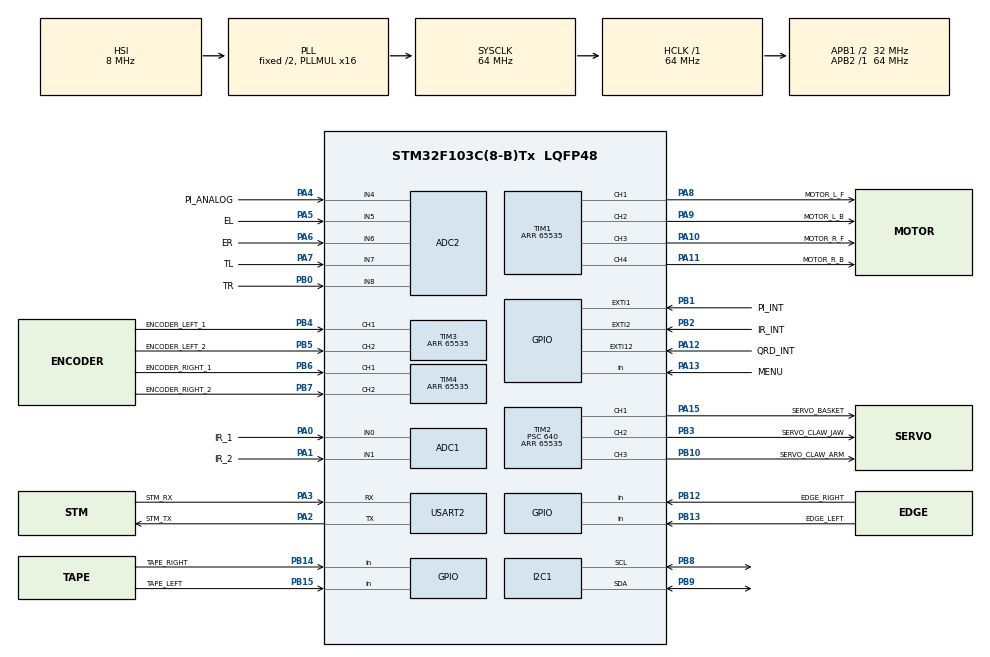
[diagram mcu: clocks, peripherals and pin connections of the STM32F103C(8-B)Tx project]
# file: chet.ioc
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ADC1.Channel-0\#ChannelRegularConversion=ADC_CHANNEL_0
ADC1.Channel-1\#ChannelRegularConversion=ADC_CHANNEL_1
ADC1.ContinuousConvMode=ENABLE
ADC1.DataAlign=ADC_DATAALIGN_RIGHT
ADC1.DiscontinuousConvMode=DISABLE
ADC1.EnableAnalogWatchDog=false
ADC1.EnableRegularConversion=ENABLE
ADC1.ExternalTrigConv=ADC_SOFTWARE_START
ADC1.InjNumberOfConversion=0
ADC1.NbrOfConversion=2
ADC1.NbrOfConversionFlag=1
ADC1.Rank-0\#ChannelRegularConversion=1
ADC1.Rank-1\#ChannelRegularConversion=2
ADC1.SamplingTime-0\#ChannelRegularConversion=ADC_SAMPLETIME_239CYCLES_5
ADC1.SamplingTime-1\#ChannelRegularConversion=ADC_SAMPLETIME_239CYCLES_5
ADC1.ScanConvMode=ADC_SCAN_ENABLE
ADC1.master=1
ADC2.Channel-11\#ChannelRegularConversion=ADC_CHANNEL_4
ADC2.ContinuousConvMode=DISABLE
ADC2.DataAlign=ADC_DATAALIGN_RIGHT
ADC2.DiscontinuousConvMode=DISABLE
ADC2.EnableAnalogWatchDog=false
ADC2.EnableRegularConversion=ENABLE
ADC2.ExternalTrigConv=ADC_SOFTWARE_START
ADC2.InjNumberOfConversion=0
ADC2.NbrOfConversion=1
ADC2.NbrOfConversionFlag=1
ADC2.Rank-11\#ChannelRegularConversion=1
ADC2.SamplingTime-11\#ChannelRegularConversion=ADC_SAMPLETIME_1CYCLE_5
ADC2.ScanConvMode=ADC_SCAN_DISABLE
Dma.ADC1.0.Direction=DMA_PERIPH_TO_MEMORY
Dma.ADC1.0.Instance=DMA1_Channel1
Dma.ADC1.0.MemDataAlignment=DMA_MDATAALIGN_WORD
Dma.ADC1.0.MemInc=DMA_MINC_ENABLE
Dma.ADC1.0.Mode=DMA_CIRCULAR
Dma.ADC1.0.PeriphDataAlignment=DMA_PDATAALIGN_WORD
Dma.ADC1.0.PeriphInc=DMA_PINC_DISABLE
Dma.ADC1.0.Priority=DMA_PRIORITY_VERY_HIGH
Dma.Request0=ADC1
Mcu.Family=STM32F1
Mcu.Name=STM32F103C(8-B)Tx
Mcu.Package=LQFP48
NVIC.ADC1_2_IRQn=true\:0\:0\:false\:false\:true\:true
NVIC.DMA1_Channel1_IRQn=true\:0\:0\:false\:false\:true\:false
NVIC.EXTI15_10_IRQn=true\:0\:0\:false\:false\:true\:true
NVIC.EXTI1_IRQn=true\:0\:0\:false\:false\:true\:true
NVIC.EXTI2_IRQn=true\:0\:0\:false\:false\:true\:true
NVIC.PriorityGroup=NVIC_PRIORITYGROUP_4
PA0-WKUP.GPIO_Label=IR_1
PA0-WKUP.Signal=ADCx_IN0
PA1.GPIO_Label=IR_2
PA1.Signal=ADCx_IN1
PA10.GPIO_Label=MOTOR_R_F
PA10.GPIO_Speed=GPIO_SPEED_FREQ_HIGH
PA10.Signal=S_TIM1_CH3
PA11.GPIO_Label=MOTOR_R_B
PA11.GPIO_Speed=GPIO_SPEED_FREQ_HIGH
PA11.Signal=S_TIM1_CH4
PA12.GPIO_Label=QRD_INT
PA12.Signal=GPXTI12
PA13.GPIO_Label=MENU
PA13.GPIO_PuPd=GPIO_PULLUP
PA13.Signal=GPIO_Input
PA15.GPIO_Label=SERVO_BASKET
PA15.GPIO_ModeDefaultPP=GPIO_MODE_AF_OD
PA15.GPIO_Speed=GPIO_SPEED_FREQ_HIGH
PA15.Signal=S_TIM2_CH1_ETR
PA2.GPIO_Label=STM_TX
PA2.Mode=Asynchronous
PA2.Signal=USART2_TX
PA3.GPIO_Label=STM_RX
PA3.Mode=Asynchronous
PA3.Signal=USART2_RX
PA4.GPIO_Label=PI_ANALOG
PA4.Signal=ADCx_IN4
PA5.GPIO_Label=EL
PA5.Signal=ADCx_IN5
PA6.GPIO_Label=ER
PA6.Signal=ADCx_IN6
PA7.GPIO_Label=TL
PA7.Signal=ADCx_IN7
PA8.GPIO_Label=MOTOR_L_F
PA8.GPIO_Speed=GPIO_SPEED_FREQ_HIGH
PA8.Signal=S_TIM1_CH1
PA9.GPIO_Label=MOTOR_L_B
PA9.GPIO_Speed=GPIO_SPEED_FREQ_HIGH
PA9.Signal=S_TIM1_CH2
PB0.GPIO_Label=TR
PB0.Signal=ADCx_IN8
PB1.GPIO_Label=PI_INT
PB1.Signal=GPXTI1
PB10.GPIO_Label=SERVO_CLAW_ARM
PB10.GPIO_ModeDefaultPP=GPIO_MODE_AF_OD
PB10.GPIO_Speed=GPIO_SPEED_FREQ_HIGH
PB10.Signal=S_TIM2_CH3
PB12.GPIO_Label=EDGE_RIGHT
PB12.Signal=GPIO_Input
PB13.GPIO_Label=EDGE_LEFT
PB13.Signal=GPIO_Input
PB14.GPIO_Label=TAPE_RIGHT
PB14.Signal=GPIO_Input
PB15.GPIO_Label=TAPE_LEFT
PB15.Signal=GPIO_Input
PB2.GPIO_Label=IR_INT
PB2.GPIO_PuPd=GPIO_PULLUP
PB2.Signal=GPXTI2
PB3.GPIO_Label=SERVO_CLAW_JAW
PB3.GPIO_ModeDefaultPP=GPIO_MODE_AF_OD
PB3.GPIO_Speed=GPIO_SPEED_FREQ_HIGH
PB3.Signal=S_TIM2_CH2
PB4.GPIO_Label=ENCODER_LEFT_1
PB4.GPIO_PuPd=GPIO_PULLUP
PB4.Signal=S_TIM3_CH1
PB5.GPIO_Label=ENCODER_LEFT_2
PB5.GPIO_PuPd=GPIO_PULLUP
PB5.Signal=S_TIM3_CH2
PB6.GPIO_Label=ENCODER_RIGHT_1
PB6.GPIO_PuPd=GPIO_PULLUP
PB6.Signal=S_TIM4_CH1
PB7.GPIO_Label=ENCODER_RIGHT_2
PB7.GPIO_PuPd=GPIO_PULLUP
PB7.Signal=S_TIM4_CH2
PB8.Mode=I2C
PB8.Signal=I2C1_SCL
PB9.Mode=I2C
PB9.Signal=I2C1_SDA
ProjectManager.HeapSize=0x200
ProjectManager.StackSize=0x400
ProjectManager.TargetToolchain=Makefile
RCC.ADCPresc=RCC_ADCPCLK2_DIV6
RCC.AHBFreq_Value=64000000
RCC.APB1CLKDivider=RCC_HCLK_DIV2
RCC.APB1Freq_Value=32000000
RCC.APB1TimFreq_Value=64000000
RCC.APB2Freq_Value=64000000
RCC.APB2TimFreq_Value=64000000
RCC.HCLKFreq_Value=64000000
RCC.PLLMUL=RCC_PLL_MUL16
RCC.SYSCLKFreq_VALUE=64000000
RCC.SYSCLKSource=RCC_SYSCLKSOURCE_PLLCLK
RCC.USBFreq_Value=64000000
SH.ADCx_IN0.0=ADC1_IN0,IN0
SH.ADCx_IN1.0=ADC1_IN1,IN1
SH.ADCx_IN4.0=ADC2_IN4,IN4
SH.ADCx_IN5.0=ADC2_IN5,IN5
SH.ADCx_IN6.0=ADC2_IN6,IN6
SH.ADCx_IN7.0=ADC2_IN7,IN7
SH.ADCx_IN8.0=ADC2_IN8,IN8
SH.S_TIM1_CH1.0=TIM1_CH1,PWM Generation1 CH1
SH.S_TIM1_CH2.0=TIM1_CH2,PWM Generation2 CH2
SH.S_TIM1_CH3.0=TIM1_CH3,PWM Generation3 CH3
SH.S_TIM1_CH4.0=TIM1_CH4,PWM Generation4 CH4
SH.S_TIM2_CH1_ETR.0=TIM2_CH1,PWM Generation1 CH1
SH.S_TIM2_CH2.0=TIM2_CH2,PWM Generation2 CH2
SH.S_TIM2_CH3.0=TIM2_CH3,PWM Generation3 CH3
SH.S_TIM3_CH1.0=TIM3_CH1,Encoder_Interface
SH.S_TIM3_CH2.0=TIM3_CH2,Encoder_Interface
SH.S_TIM4_CH1.0=TIM4_CH1,Encoder_Interface
SH.S_TIM4_CH2.0=TIM4_CH2,Encoder_Interface
TIM1.AutomaticOutput=TIM_AUTOMATICOUTPUT_DISABLE
TIM1.Channel-PWM\ Generation1\ CH1=TIM_CHANNEL_1
TIM1.Channel-PWM\ Generation2\ CH2=TIM_CHANNEL_2
TIM1.Channel-PWM\ Generation3\ CH3=TIM_CHANNEL_3
TIM1.Channel-PWM\ Generation4\ CH4=TIM_CHANNEL_4
TIM1.Period=65535
TIM2.Channel-PWM\ Generation1\ CH1=TIM_CHANNEL_1
TIM2.Channel-PWM\ Generation2\ CH2=TIM_CHANNEL_2
TIM2.Channel-PWM\ Generation3\ CH3=TIM_CHANNEL_3
TIM2.Period=65535
TIM2.Prescaler=640
TIM3.EncoderMode=TIM_ENCODERMODE_TI12
TIM3.IC1Filter=15
TIM3.IC2Filter=15
TIM3.Period=65535
TIM4.EncoderMode=TIM_ENCODERMODE_TI12
TIM4.IC1Filter=15
TIM4.IC2Filter=15
TIM4.Period=65535
USART2.VirtualMode=VM_ASYNC
VP_SYS_VS_ND.Mode=No_Debug
VP_TIM1_VS_ClockSourceINT.Mode=Internal
VP_TIM2_VS_ClockSourceINT.Mode=Internal
board=custom

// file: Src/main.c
/**
 ******************************************************************************
 * @file           : main.c
 * @brief          : Main program body
 ******************************************************************************
 ** This notice applies to any and all portions of this file
 * that are not between comment pairs USER CODE BEGIN and
 * USER CODE END. Other portions of this file, whether
 * inserted by the user or by software development tools
 * are owned by their respective copyright owners.
 *
 * COPYRIGHT(c) 2018 STMicroelectronics
 *
 * Redistribution and use in source and binary forms, with or without modification,
 * are permitted provided that the following conditions are met:
 *   1. Redistributions of source code must retain the above copyright notice,
 *      this list of conditions and the following disclaimer.
 *   2. Redistributions in binary form must reproduce the above copyright notice,
 *      this list of conditions and the following disclaimer in the documentation
 *      and/or other materials provided with the distribution.
 *   3. Neither the name of STMicroelectronics nor the names of its contributors
 *      may be used to endorse or promote products derived from this software
 *      without specific prior written permission.
 *
 * THIS SOFTWARE IS PROVIDED BY THE COPYRIGHT HOLDERS AND CONTRIBUTORS "AS IS"
 * AND ANY EXPRESS OR IMPLIED WARRANTIES, INCLUDING, BUT NOT LIMITED TO, THE
 * IMPLIED WARRANTIES OF MERCHANTABILITY AND FITNESS FOR A PARTICULAR PURPOSE ARE
 * DISCLAIMED. IN NO EVENT SHALL THE COPYRIGHT HOLDER OR CONTRIBUTORS BE LIABLE
 * FOR ANY DIRECT, INDIRECT, INCIDENTAL, SPECIAL, EXEMPLARY, OR CONSEQUENTIAL
 * DAMAGES (INCLUDING, BUT NOT LIMITED TO, PROCUREMENT OF SUBSTITUTE GOODS OR
 * SERVICES; LOSS OF USE, DATA, OR PROFITS; OR BUSINESS INTERRUPTION) HOWEVER
 * CAUSED AND ON ANY THEORY OF LIABILITY, WHETHER IN CONTRACT, STRICT LIABILITY,
 * OR TORT (INCLUDING NEGLIGENCE OR OTHERWISE) ARISING IN ANY WAY OUT OF THE USE
 * OF THIS SOFTWARE, EVEN IF ADVISED OF THE POSSIBILITY OF SUCH DAMAGE.
 *
 ******************************************************************************
 */
#include "main.h"
#include "stm32f1xx_hal.h"
#include "adc.h"
#include "dma.h"
#include "i2c.h"
#include "tim.h"
#include "usart.h"
#include "gpio.h"

/* USER CODE BEGIN Includes */
#include "fonts.h"
#include "ssd1306.h"
#include "pid.h"
#include "filter.h"
#include "encoder.h"
#include "extern_vars.h"
#include <String.h>

/* USER CODE END Includes */

/* USER CODE BEGIN PV */
//TODO: Drive system, signed int32, giving forward backward, encoders, coordinate system.
uint16_t LEFT_SPEED;
uint16_t RIGHT_SPEED;
uint32_t adc_buffer[3072];
uint32_t read_value[3072];/* USER CODE END PV */

void SystemClock_Config(void);

/* USER CODE BEGIN PFP */
/* Private function prototypes -----------------------------------------------*/
void print(char *msg, int row);
void do_pid(PID_t *pid_struct);
PID_t menu();
void frequency_comparison(uint16_t freq1, uint16_t freq2, uint16_t GPIO_Pin);
void pi_navigation();
int8_t calculate_heading(uint32_t adc_val);

/* USER CODE END PFP */

/* USER CODE BEGIN 0 */
// DMA
void HAL_ADC_ConvCpltCallback(ADC_HandleTypeDef *hadc)
{
    memcpy(read_value, adc_buffer, sizeof(adc_buffer));
}
/* USER CODE END 0 */

int main(void)
{

    /* MCU Configuration----------------------------------------------------------*/

    /* Reset of all peripherals, Initializes the Flash interface and the Systick. */
    HAL_Init();

    /* Configure the system clock */
    SystemClock_Config();

    /* Initialize all configured peripherals */
    MX_GPIO_Init();
    MX_DMA_Init();
    MX_TIM4_Init();
    MX_TIM3_Init();
    MX_TIM1_Init();
    MX_ADC1_Init();
    MX_TIM2_Init();
    MX_USART2_UART_Init();
    MX_ADC2_Init();
    MX_I2C1_Init();
    /* USER CODE BEGIN 2 */
    /* Initialize all timer related stuffs*/
    HAL_TIM_Encoder_Start(&htim3, TIM_CHANNEL_ALL);
    HAL_TIM_Encoder_Start(&htim4, TIM_CHANNEL_ALL);

    /* Initialize other stuffs*/
    ssd1306_Init();
    print("Starting...", 0);    /* USER CODE END 2 */

    /* Infinite loop */
    /* USER CODE BEGIN WHILE */
    while (1)
    {
        if(HAL_GPIO_ReadPin(MENU_GPIO_Port, MENU_Pin)){
            print("Off", 0);
        }else{
            print("On", 0);
        }

        /* USER CODE END WHILE */

    }

}

void SystemClock_Config(void)
{

    RCC_OscInitTypeDef RCC_OscInitStruct;
    RCC_ClkInitTypeDef RCC_ClkInitStruct;
    RCC_PeriphCLKInitTypeDef PeriphClkInit;

    /**Initializes the CPU, AHB and APB busses clocks
    */
    RCC_OscInitStruct.OscillatorType = RCC_OSCILLATORTYPE_HSI;
    RCC_OscInitStruct.HSIState = RCC_HSI_ON;
    RCC_OscInitStruct.HSICalibrationValue = 16;
    RCC_OscInitStruct.PLL.PLLState = RCC_PLL_ON;
    RCC_OscInitStruct.PLL.PLLSource = RCC_PLLSOURCE_HSI_DIV2;
    RCC_OscInitStruct.PLL.PLLMUL = RCC_PLL_MUL16;
    if (HAL_RCC_OscConfig(&RCC_OscInitStruct) != HAL_OK)
    {
        _Error_Handler(__FILE__, __LINE__);
    }

    /**Initializes the CPU, AHB and APB busses clocks
    */
    RCC_ClkInitStruct.ClockType = RCC_CLOCKTYPE_HCLK|RCC_CLOCKTYPE_SYSCLK
        |RCC_CLOCKTYPE_PCLK1|RCC_CLOCKTYPE_PCLK2;
    RCC_ClkInitStruct.SYSCLKSource = RCC_SYSCLKSOURCE_PLLCLK;
    RCC_ClkInitStruct.AHBCLKDivider = RCC_SYSCLK_DIV1;
    RCC_ClkInitStruct.APB1CLKDivider = RCC_HCLK_DIV2;
    RCC_ClkInitStruct.APB2CLKDivider = RCC_HCLK_DIV1;

    if (HAL_RCC_ClockConfig(&RCC_ClkInitStruct, FLASH_LATENCY_2) != HAL_OK)
    {
        _Error_Handler(__FILE__, __LINE__);
    }

    PeriphClkInit.PeriphClockSelection = RCC_PERIPHCLK_ADC;
    PeriphClkInit.AdcClockSelection = RCC_ADCPCLK2_DIV6;
    if (HAL_RCCEx_PeriphCLKConfig(&PeriphClkInit) != HAL_OK)
    {
        _Error_Handler(__FILE__, __LINE__);
    }

    /**Configure the Systick interrupt time
    */
    HAL_SYSTICK_Config(HAL_RCC_GetHCLKFreq()/1000);

    /**Configure the Systick
    */
    HAL_SYSTICK_CLKSourceConfig(SYSTICK_CLKSOURCE_HCLK);

    /* SysTick_IRQn interrupt configuration */
    HAL_NVIC_SetPriority(SysTick_IRQn, 0, 0);
}

/* USER CODE BEGIN 4 */

void pi_navigation(){
    print("Pi Nav", 0);
    LEFT_SPEED = 850;
    RIGHT_SPEED = 850;
    while(1){
        uint32_t lspeed=LEFT_SPEED;
        uint32_t rspeed=RIGHT_SPEED;
        int16_t heading = 0;
        if (heading < 0)
        {
            lspeed = LEFT_SPEED-heading;
            __HAL_TIM_SET_COMPARE(&htim1, TIM_CHANNEL_1, lspeed);
        }
        else if (heading > 0)
        {
            rspeed = RIGHT_SPEED+heading;
            __HAL_TIM_SET_COMPARE(&htim1, TIM_CHANNEL_3, rspeed);
        }
        char msg[20] = "";
        sprintf(msg, "L: %lu", lspeed);
        print(msg, 0);
        sprintf(msg, "R: %lu", rspeed);
        print(msg, 1);
    }
    PI_INT_STATE = NOT_FLAGGED;
}

/**
 * Resistor ladder: 8-bit, 0->3.3v.
 * ADC: 12-bit, 0->3.3V
 *
 * @param adc_val, value read from ADC.
 * @return heading as a percentage from -50 (left) to 50 (right).
 **/
int8_t calculate_heading(uint32_t adc_val){
    return adc_val/4096*100-50;
}

void frequency_comparison(uint16_t freq1, uint16_t freq2, uint16_t GPIO_Pin)
{
    uint16_t offset = GPIO_Pin == IR_1_Pin ? 0 : GPIO_Pin == IR_2_Pin ? 1 : 2;
    HAL_ADC_Start_DMA(&hadc1, adc_buffer, sizeof(adc_buffer)/sizeof(adc_buffer[0]));
    //TODO calculate time needed to fill first buffer
    HAL_Delay(500);
    //TODO figure out thresholds and what we want to look for
    while(1){
        char msg[20] = "";
        // Sampling frequency: 72e6/(2*3*(480+15))
        // freq one
        double val1 = goertzel(read_value, 24242, freq1, sizeof(adc_buffer)/sizeof(adc_buffer[0]), offset);
        int predec = (int)(val1 / 1);
        int postdec = (int)((val1 - predec) * 1000);
        sprintf(msg, "%d.%d\n", predec, postdec);
        HAL_UART_Transmit(&huart2, (uint8_t *)msg, strlen(msg), 0xFFFF);
        //freq2
        double val2 = goertzel(read_value, 24242, freq2, sizeof(adc_buffer)/sizeof(adc_buffer[0]), offset);
        predec = (int)(val2 / 1);
        postdec = (int)((val2 - predec) * 1000);
        sprintf(msg, "%d.%d", predec, postdec);
        HAL_UART_Transmit(&huart2, (uint8_t *)msg, strlen(msg), 0xFFFF);
        //compare
        if(val1>val2){break;}
    }
    HAL_ADC_Stop_DMA(&hadc1);
    IR_INT_STATE = NOT_FLAGGED;
}

/*
 * Rows from 0 - 6
 * Reset screen when printing from row 0
 */
void print(char *msg, int row)
{
    if (row == 0)
    {
        ssd1306_Fill(Black);
    }
    ssd1306_SetCursor(0, row * 10);
    ssd1306_WriteString(msg, Font_7x10, White);
    ssd1306_UpdateScreen();
}

PID_t menu()
{
    print("Starting", 0);
    char msg[20] = "";
    int pid_select = 0;
    uint32_t values[3] = {0, 0, 0};
    while (1)
    {
        if (HAL_GPIO_ReadPin(MENU_GPIO_Port, MENU_Pin) == 0)
        {
            sprintf(msg, "%lu", values[pid_select]);
            print(msg, 0);
            TIM4->CNT = values[pid_select];
            while (HAL_GPIO_ReadPin(MENU_GPIO_Port, MENU_Pin) == 0)
            {
                values[pid_select] = TIM4->CNT;
                sprintf(msg, "%lu", values[pid_select]);
                print(msg, 0);
            }
            ++pid_select;
        }
        if (pid_select == 3)
            break;
    }
    while (1)
    {
        int speed = 400;
        if (HAL_GPIO_ReadPin(MENU_GPIO_Port, MENU_Pin) == 0)
        {
            if (pid_select == 3)
            {
                HAL_TIM_PWM_Start(&htim1, TIM_CHANNEL_1);
                HAL_TIM_PWM_Stop(&htim1, TIM_CHANNEL_3);
            }
            else
            {
                HAL_TIM_PWM_Stop(&htim1, TIM_CHANNEL_1);
                HAL_TIM_PWM_Start(&htim1, TIM_CHANNEL_3);
            }
            sprintf(msg, "%d", speed);
            print(msg, 0);
            TIM4->CNT = speed;
            while (HAL_GPIO_ReadPin(MENU_GPIO_Port, MENU_Pin) == 0)
            {
                speed = TIM4->CNT;
                sprintf(msg, "%d", speed);
                print(msg, 0);
                if (pid_select == 3)
                {
                    __HAL_TIM_SET_COMPARE(&htim1, TIM_CHANNEL_1, speed);
                    LEFT_SPEED = speed;
                }
                else
                {
                    __HAL_TIM_SET_COMPARE(&htim1, TIM_CHANNEL_3, speed);
                    RIGHT_SPEED = speed;
                }
            }
            ++pid_select;
        }
        if (pid_select == 5)
        {
            break;
        }
    }
    HAL_TIM_PWM_Stop(&htim1, TIM_CHANNEL_1);
    HAL_TIM_PWM_Stop(&htim1, TIM_CHANNEL_3);
    sprintf(msg, "P %lu", values[0]);
    print(msg, 0);
    sprintf(msg, "D %lu", values[1]);
    print(msg, 1);
    sprintf(msg, "I %lu", values[2]);
    print(msg, 2);
    sprintf(msg, "L %u", LEFT_SPEED);
    print(msg, 3);
    sprintf(msg, "R %u", RIGHT_SPEED);
    print(msg, 4);
    HAL_Delay(500);
    HAL_TIM_PWM_Start(&htim1, TIM_CHANNEL_1);
    HAL_TIM_PWM_Start(&htim1, TIM_CHANNEL_3);
    return pid_Init(values[0], values[1], values[2], 5, 1);
}

void do_pid(PID_t *pid_struct)
{
    /* Read sensors */
    uint8_t left = HAL_GPIO_ReadPin(TAPE_LEFT_GPIO_Port, TAPE_LEFT_Pin) ? 0 : 1;
    uint8_t right = HAL_GPIO_ReadPin(TAPE_RIGHT_GPIO_Port, TAPE_RIGHT_Pin) ? 0 : 1;

    /* Get error */
    if (left && right)
    {
        pid_struct->err = 0;
    }
    else if (left && !right)
    {
        pid_struct->err = 1;
    }
    else if (!left && right)
    {
        pid_struct->err = -1;
    }
    else if (!left && !right && (pid_struct->err < 0))
    {
        pid_struct->err = -5;
    }
    else if (!left && !right && (pid_struct->err > 0))
    {
        pid_struct->err = 5;
    }

    /* Get gain */
    double gain = pid_GetGain(pid_struct, &htim1);
    int g = (int)gain;
    char msg[20]="";
    sprintf(msg, "%d", g);
    print(msg, 0);

    /* Set Motor Speeds*/
    int lspeed = LEFT_SPEED;
    int rspeed = RIGHT_SPEED;
    if (g < 0)
    {
        lspeed = LEFT_SPEED - g;
    }
    else if (g > 0)
    {
        rspeed = RIGHT_SPEED + g;
    }
    __HAL_TIM_SET_COMPARE(&htim1, TIM_CHANNEL_1, lspeed);
    __HAL_TIM_SET_COMPARE(&htim1, TIM_CHANNEL_3, rspeed);
}

/* USER CODE END 4 */

void _Error_Handler(char *file, int line)
{
    while(1)
    {
    }
}

/************************ (C) COPYRIGHT STMicroelectronics *****END OF FILE****/
